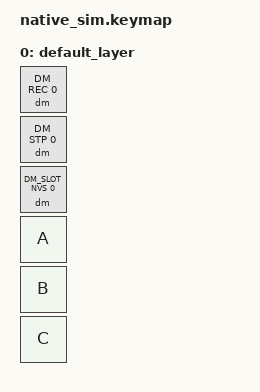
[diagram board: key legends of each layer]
/*
 * Copyright (c) 2026 The ZMK Contributors
 * SPDX-License-Identifier: MIT
 *
 * Test: Record a key sequence and play it back from NVS slot.
 *
 * Sequence:
 * 1. Press REC to start recording
 * 2. Press A, B, C
 * 3. Press STP to stop recording
 * 4. Press slot 0 to assign recording
 * 5. Press slot 0 again to playback
 *
 * Expected: Playback emits A, B, C key events
 */

#include <behaviors.dtsi>
#include <dt-bindings/zmk/keys.h>
#include <dt-bindings/zmk/kscan_mock.h>
#include <dt-bindings/zmk/dynamic_macros.h>
#include "../behavior_keymap.dtsi"

/ {
    keymap {
        compatible = "zmk,keymap";
        default_layer {
            bindings = <
                &dm DM_REC 0        /* 0,0: start recording */
                &dm DM_STP 0        /* 0,1: stop recording */
                &dm DM_SLOT_NVS 0   /* 0,2: NVS slot 0 (assign/play) */
                &kp A               /* 0,3: key A */
                &kp B               /* 1,0: key B */
                &kp C               /* 1,1: key C */
            >;
        };
    };
};

&kscan {
    events = <
        /* Start recording */
        ZMK_MOCK_PRESS(0,0,10)
        ZMK_MOCK_RELEASE(0,0,20)

        /* Record: A B C */
        ZMK_MOCK_PRESS(0,3,100)
        ZMK_MOCK_RELEASE(0,3,150)
        ZMK_MOCK_PRESS(1,0,200)
        ZMK_MOCK_RELEASE(1,0,250)
        ZMK_MOCK_PRESS(1,1,300)
        ZMK_MOCK_RELEASE(1,1,350)

        /* Stop recording */
        ZMK_MOCK_PRESS(0,1,400)
        ZMK_MOCK_RELEASE(0,1,410)

        /* Assign to slot 0 */
        ZMK_MOCK_PRESS(0,2,500)
        ZMK_MOCK_RELEASE(0,2,510)

        /* Wait for feedback typing to complete, then playback */
        ZMK_MOCK_PRESS(0,2,2000)
        ZMK_MOCK_RELEASE(0,2,2010)
    >;
};
